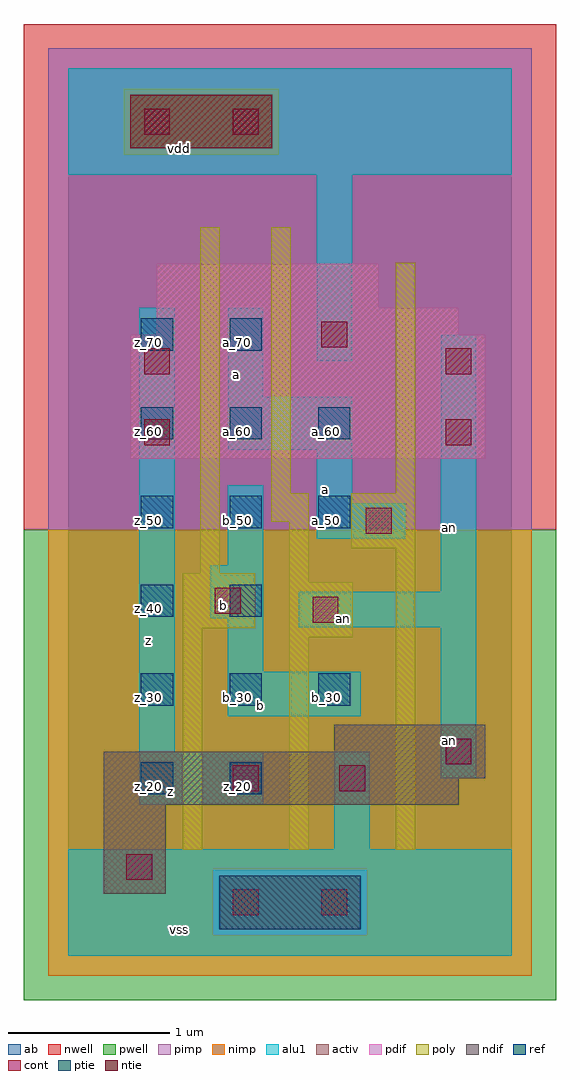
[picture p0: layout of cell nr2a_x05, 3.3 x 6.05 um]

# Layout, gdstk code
import gdstk
lib = gdstk.Library(unit=1e-6, precision=2.5e-09)
def R(c, l, rs):  # rectangles x0, y0, x1, y1
    for r in rs: c.add(gdstk.rectangle(r[:2], r[2:], *l))
def A(c, l, x, y, w, h, nx, ny, dx, dy):  # array of equal rectangles
    R(c, l, [(x+i*dx, y+j*dy, x+i*dx+w, y+j*dy+h) for i in range(nx) for j in range(ny)])
ndif = (3, 0)
pdif = (4, 0)
ntie = (5, 0)
ptie = (6, 0)
ref = (24, 0)
cont = (25, 0)
pwell = (41, 0)
nwell = (42, 0)
activ = (43, 0)
pimp = (44, 0)
nimp = (45, 0)
poly = (46, 0)
alu1 = (49, 0)
ab = (63, 0)

nr2a_x05 = lib.new_cell('nr2a_x05')
R(nr2a_x05, ndif, [(0.22,0.385,0.605,0.935), (0.22,0.935,2.42,1.1), (0.22,1.1,2.585,1.265), (1.65,1.265,2.585,1.43)])
R(nr2a_x05, pdif, [(0.385,3.08,2.585,3.85), (0.55,3.85,2.42,4.015), (0.55,4.015,1.925,4.29)])
R(nr2a_x05, ntie, [(0.385,5.005,1.265,5.335)])
R(nr2a_x05, ptie, [(0.935,0.165,1.815,0.495)])
A(nr2a_x05, ref, 0.45, 1.55, 0.2, 0.2, 3, 2, 0.55, 1.1)
A(nr2a_x05, ref, 0.45, 3.2, 0.2, 0.2, 3, 1, 0.55, 0)
R(nr2a_x05, ref, [(0.45,1,0.65,1.2), (1,1,1.2,1.2), (0.45,2.1,0.65,2.3), (1,2.1,1.2,2.3), (0.45,3.75,0.65,3.95), (1,3.75,1.2,3.95)])
R(nr2a_x05, cont, [(1.02,0.25,1.18,0.41), (1.57,0.25,1.73,0.41), (0.36,0.47,0.52,0.63), (1.02,1.02,1.18,1.18), (1.68,1.02,1.84,1.18), (2.34,1.185,2.5,1.345), (1.515,2.065,1.675,2.225), (0.91,2.12,1.07,2.28), (1.845,2.615,2.005,2.775), (0.47,3.165,0.63,3.325), (2.34,3.165,2.5,3.325), (0.47,3.605,0.63,3.765), (2.34,3.605,2.5,3.765), (1.57,3.77,1.73,3.93), (0.47,5.09,0.63,5.25), (1.02,5.09,1.18,5.25)])
R(nr2a_x05, pwell, [(-0.275,-0.275,3.025,2.64)])
R(nr2a_x05, nwell, [(-0.275,2.64,3.025,5.775)])
R(nr2a_x05, activ, [(0.935,0.165,1.815,0.495), (0.22,0.385,0.605,0.935), (0.22,0.935,2.42,1.1), (0.22,1.1,2.585,1.265), (1.65,1.265,2.585,1.43), (0.385,3.08,2.585,3.85), (0.55,3.85,2.42,4.015), (0.55,4.015,1.925,4.29), (0.385,5.005,1.265,5.335)])
R(nr2a_x05, pimp, [(0.895,0.125,1.855,0.535), (-0.125,2.64,2.875,4.965), (-0.125,4.965,0.345,5.375), (1.305,4.965,2.875,5.375), (-0.125,5.375,2.875,5.625)])
R(nr2a_x05, nimp, [(-0.125,-0.125,2.875,0.125), (-0.125,0.125,0.895,0.535), (1.855,0.125,2.875,0.535), (-0.125,0.535,2.875,2.64), (0.345,4.965,1.305,5.375)])
R(nr2a_x05, poly, [(0.71,0.655,0.83,2.03), (1.37,0.655,1.49,1.975), (2.03,0.655,2.15,2.525), (1.37,1.975,1.765,2.315), (0.71,2.03,1.16,2.37), (1.37,2.315,1.49,2.69), (0.82,2.37,0.94,4.515), (1.755,2.525,2.15,2.865), (1.26,2.69,1.49,2.865), (1.26,2.865,1.38,4.515), (2.03,2.865,2.15,4.295)])
R(nr2a_x05, alu1, [(0,0,2.75,0.66), (1.65,0.66,1.87,1.265), (0.44,0.935,1.21,1.265), (2.31,1.1,2.53,2.035), (0.44,1.265,0.66,4.015), (0.99,1.485,1.815,1.76), (0.99,1.76,1.21,2.09), (1.43,2.035,2.53,2.255), (0.88,2.09,1.21,2.42), (2.31,2.255,2.53,3.85), (0.99,2.42,1.21,2.915), (1.54,2.585,2.09,2.805), (1.54,2.805,1.76,3.135), (0.99,3.135,1.76,3.465), (0.99,3.465,1.21,4.015), (1.54,3.685,1.76,4.84), (0,4.84,2.75,5.5)])
R(nr2a_x05, ab, [(0,0,2.75,5.5)])
nr2a_x05.add(gdstk.Label('vss', (0.6875,0.165), layer=49, texttype=0))
nr2a_x05.add(gdstk.Label('an', (2.365,1.3325), layer=49, texttype=0))
nr2a_x05.add(gdstk.Label('z', (0.6325,1.0175), layer=49, texttype=0))
nr2a_x05.add(gdstk.Label('b', (1.195,1.5525), layer=49, texttype=0))
nr2a_x05.add(gdstk.Label('an', (1.705,2.09), layer=49, texttype=0))
nr2a_x05.add(gdstk.Label('an', (2.365,2.6525), layer=49, texttype=0))
nr2a_x05.add(gdstk.Label('b', (0.9625,2.1725), layer=49, texttype=0))
nr2a_x05.add(gdstk.Label('a', (1.595,2.8875), layer=49, texttype=0))
nr2a_x05.add(gdstk.Label('a', (1.045,3.6025), layer=49, texttype=0))
nr2a_x05.add(gdstk.Label('z', (0.495,1.9525), layer=49, texttype=0))
nr2a_x05.add(gdstk.Label('vdd', (0.6875,5.005), layer=49, texttype=0))
nr2a_x05.add(gdstk.Label('b_30', (1.05,1.6), layer=24, texttype=0))
nr2a_x05.add(gdstk.Label('z_20', (0.5,1.05), layer=24, texttype=0))
nr2a_x05.add(gdstk.Label('a_60', (1.05,3.25), layer=24, texttype=0))
nr2a_x05.add(gdstk.Label('z_30', (0.5,1.6), layer=24, texttype=0))
nr2a_x05.add(gdstk.Label('b_40', (1.05,2.15), layer=24, texttype=0))
nr2a_x05.add(gdstk.Label('z_70', (0.5,3.8), layer=24, texttype=0))
nr2a_x05.add(gdstk.Label('b_30', (1.6,1.6), layer=24, texttype=0))
nr2a_x05.add(gdstk.Label('a_60', (1.6,3.25), layer=24, texttype=0))
nr2a_x05.add(gdstk.Label('z_40', (0.5,2.15), layer=24, texttype=0))
nr2a_x05.add(gdstk.Label('z_50', (0.5,2.7), layer=24, texttype=0))
nr2a_x05.add(gdstk.Label('z_60', (0.5,3.25), layer=24, texttype=0))
nr2a_x05.add(gdstk.Label('b_50', (1.05,2.7), layer=24, texttype=0))
nr2a_x05.add(gdstk.Label('a_50', (1.6,2.7), layer=24, texttype=0))
nr2a_x05.add(gdstk.Label('z_20', (1.05,1.05), layer=24, texttype=0))
nr2a_x05.add(gdstk.Label('a_70', (1.05,3.8), layer=24, texttype=0))

lib.write_gds('nr2a_x05.gds')
